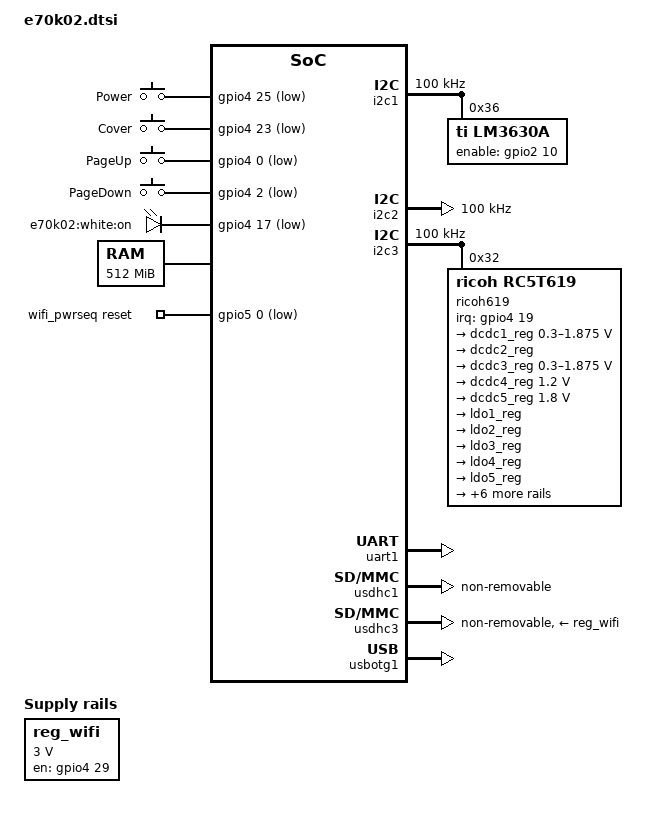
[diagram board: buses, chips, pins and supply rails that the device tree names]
// SPDX-License-Identifier: GPL-2.0
/*
 * Copyright 2021 Andreas Kemnade
 * based on works
 * Copyright 2016 Freescale Semiconductor, Inc.
 * and
 * Copyright (C) 2014 Ricoh Electronic Devices Co., Ltd
 *
 * Netronix E70K02 board common.
 * This board is equipped with different SoCs and
 * found in ebook-readers like the Kobo Clara HD (with i.MX6SLL) and
 * the Tolino Shine 3 (with i.MX6SL)
 */
#include <dt-bindings/input/input.h>

/ {
	aliases {
		mmc0 = &usdhc1;
		mmc1 = &usdhc3;
	};

	chosen {
		stdout-path = &uart1;
	};

	gpio_keys: gpio-keys {
		compatible = "gpio-keys";

		key-power {
			label = "Power";
			gpios = <&gpio4 25 GPIO_ACTIVE_LOW>;
			linux,code = <KEY_POWER>;
			wakeup-source;
		};

		key-cover {
			label = "Cover";
			gpios = <&gpio4 23 GPIO_ACTIVE_LOW>;
			linux,code = <SW_LID>;
			linux,input-type = <EV_SW>;
			wakeup-source;
		};

		key-pageup {
			label = "PageUp";
			gpios = <&gpio4 0 GPIO_ACTIVE_LOW>;
			linux,code = <KEY_PAGEUP>;
		};

		key-pagedown {
			label = "PageDown";
			gpios = <&gpio4 2 GPIO_ACTIVE_LOW>;
			linux,code = <KEY_PAGEDOWN>;
		};
	};

	leds: leds {
		compatible = "gpio-leds";

		led {
			label = "e70k02:white:on";
			gpios = <&gpio4 17 GPIO_ACTIVE_LOW>;
			linux,default-trigger = "timer";
		};
	};

	memory@80000000 {
		device_type = "memory";
		reg = <0x80000000 0x20000000>;
	};

	reg_wifi: regulator-wifi {
		compatible = "regulator-fixed";
		regulator-name = "SD3_SPWR";
		regulator-min-microvolt = <3000000>;
		regulator-max-microvolt = <3000000>;
		gpio = <&gpio4 29 GPIO_ACTIVE_HIGH>;
		enable-active-high;
	};

	wifi_pwrseq: wifi-pwrseq {
		compatible = "mmc-pwrseq-simple";
		post-power-on-delay-ms = <20>;
		reset-gpios = <&gpio5 0 GPIO_ACTIVE_LOW>;
	};
};

&i2c1 {
	clock-frequency = <100000>;
	status = "okay";

	lm3630a: backlight@36 {
		reg = <0x36>;
		compatible = "ti,lm3630a";
		enable-gpios = <&gpio2 10 GPIO_ACTIVE_HIGH>;

		#address-cells = <1>;
		#size-cells = <0>;

		led@0 {
			reg = <0>;
			led-sources = <0>;
			label = "backlight_warm";
			default-brightness = <0>;
			max-brightness = <255>;
		};

		led@1 {
			reg = <1>;
			led-sources = <1>;
			label = "backlight_cold";
			default-brightness = <0>;
			max-brightness = <255>;
		};
	};

	/* TODO: KX122 acceleration sensor a 0x1e */

};

&i2c2 {
	clock-frequency = <100000>;
	status = "okay";

	/* TODO: CYTTSP5 touch controller at 0x24 */

	/* TODO: SY7636 PMIC for E Ink at 0x62 */

};

&i2c3 {
	clock-frequency = <100000>;
	status = "okay";

	ricoh619: pmic@32 {
		compatible = "ricoh,rc5t619";
		reg = <0x32>;
		interrupt-parent = <&gpio4>;
		interrupts = <19 IRQ_TYPE_EDGE_FALLING>;
		system-power-controller;

		regulators {
			dcdc1_reg: DCDC1 {
				regulator-name = "DCDC1";
				regulator-min-microvolt = <300000>;
				regulator-max-microvolt = <1875000>;
				regulator-always-on;
				regulator-boot-on;

				regulator-state-mem {
					regulator-on-in-suspend;
					regulator-suspend-max-microvolt = <900000>;
					regulator-suspend-min-microvolt = <900000>;
				};
			};

			/* Core3_3V3 */
			dcdc2_reg: DCDC2 {
				regulator-name = "DCDC2";
				regulator-always-on;
				regulator-boot-on;

				regulator-state-mem {
					regulator-on-in-suspend;
					regulator-suspend-max-microvolt = <3300000>;
					regulator-suspend-min-microvolt = <3300000>;
				};
			};

			dcdc3_reg: DCDC3 {
				regulator-name = "DCDC3";
				regulator-min-microvolt = <300000>;
				regulator-max-microvolt = <1875000>;
				regulator-always-on;
				regulator-boot-on;

				regulator-state-mem {
					regulator-on-in-suspend;
					regulator-suspend-max-microvolt = <1140000>;
					regulator-suspend-min-microvolt = <1140000>;
				};
			};

			/* Core4_1V2 */
			dcdc4_reg: DCDC4 {
				regulator-name = "DCDC4";
				regulator-min-microvolt = <1200000>;
				regulator-max-microvolt = <1200000>;
				regulator-always-on;
				regulator-boot-on;

				regulator-state-mem {
					regulator-on-in-suspend;
					regulator-suspend-max-microvolt = <1140000>;
					regulator-suspend-min-microvolt = <1140000>;
				};
			};

			/* Core4_1V8 */
			dcdc5_reg: DCDC5 {
				regulator-name = "DCDC5";
				regulator-min-microvolt = <1800000>;
				regulator-max-microvolt = <1800000>;
				regulator-always-on;
				regulator-boot-on;

				regulator-state-mem {
					regulator-on-in-suspend;
					regulator-suspend-max-microvolt = <1700000>;
					regulator-suspend-min-microvolt = <1700000>;
				};
			};

			ldo1_reg: LDO1  {
				regulator-name = "LDO1";
				regulator-boot-on;
			};

			/* Core1_3V3 */
			ldo2_reg: LDO2  {
				regulator-name = "LDO2";
				regulator-always-on;
				regulator-boot-on;

				regulator-state-mem {
					regulator-on-in-suspend;
					regulator-suspend-max-microvolt = <3000000>;
					regulator-suspend-min-microvolt = <3000000>;
				};
			};

			/* Core5_1V2 */
			ldo3_reg: LDO3  {
				regulator-name = "LDO3";
				regulator-always-on;
				regulator-boot-on;
			};

			ldo4_reg: LDO4 {
				regulator-name = "LDO4";
				regulator-boot-on;
			};

			/* SPD_3V3 */
			ldo5_reg: LDO5 {
				regulator-name = "LDO5";
				regulator-always-on;
				regulator-boot-on;
			};

			/* DDR_0V6 */
			ldo6_reg: LDO6 {
				regulator-name = "LDO6";
				regulator-always-on;
				regulator-boot-on;
			};

			/* VDD_PWM */
			ldo7_reg: LDO7 {
				regulator-name = "LDO7";
				regulator-boot-on;
			};

			/* ldo_1v8 */
			ldo8_reg: LDO8 {
				regulator-name = "LDO8";
				regulator-min-microvolt = <1800000>;
				regulator-max-microvolt = <1800000>;
				regulator-boot-on;
			};

			ldo9_reg: LDO9 {
				regulator-name = "LDO9";
				regulator-boot-on;
			};

			ldo10_reg: LDO10 {
				regulator-name = "LDO10";
				regulator-boot-on;
			};

			ldortc1_reg: LDORTC1  {
				regulator-name = "LDORTC1";
				regulator-boot-on;
			};
		};
	};
};

&snvs_rtc {
	/* we are using the rtc in the pmic, not disabled in imx6sll.dtsi */
	status = "disabled";
};

&uart1 {
	status = "okay";
};

&usdhc1 {
	non-removable;
	no-1-8-v;
	status = "okay";
};

&usdhc3 {
	vmmc-supply = <&reg_wifi>;
	mmc-pwrseq = <&wifi_pwrseq>;
	cap-power-off-card;
	non-removable;
	status = "okay";
};

&usbotg1 {
	pinctrl-names = "default";
	disable-over-current;
	srp-disable;
	hnp-disable;
	adp-disable;
	status = "okay";
};
